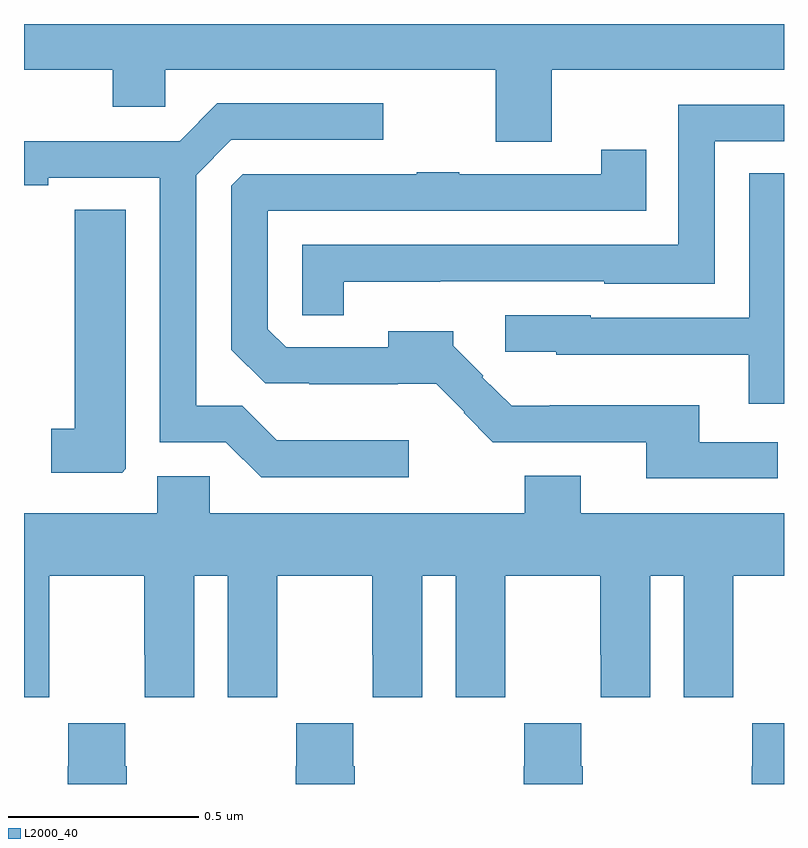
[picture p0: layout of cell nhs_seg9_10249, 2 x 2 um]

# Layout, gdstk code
import gdstk
lib = gdstk.Library(unit=1e-6, precision=1e-09)
def P(c, l, *ps):  # polygons
    for p in ps: c.add(gdstk.Polygon(p, *l))
L2000_40 = (2000, 40)

nhs_seg9_10249 = lib.new_cell('nhs_seg9_10249')
P(nhs_seg9_10249, L2000_40, [(241.389,1236.38),(242,1236.38),(242,1236.5),(240,1236.5),(240,1236.38),(240.233,1236.38),(240.233,1236.282),(240.372,1236.282),(240.372,1236.38),(241.241,1236.38),(241.241,1236.19),(241.389,1236.19)],
  [(241.012,1235.404),(240.665,1235.404),(240.574,1235.495),(240.453,1235.495),(240.453,1236.102),(240.546,1236.195),(240.946,1236.195),(240.946,1236.291),(240.509,1236.291),(240.41,1236.192),(240,1236.192),(240,1236.076),(240.064,1236.076),(240.064,1236.096),(240.357,1236.096),(240.357,1235.4),(240.531,1235.4),(240.624,1235.307),(241.012,1235.307)],
  [(240.841,1235.822),(241.095,1235.822),(241.095,1235.823),(241.527,1235.823),(241.527,1235.816),(241.818,1235.816),(241.818,1236.192),(242,1236.192),(242,1236.288),(241.722,1236.288),(241.722,1235.919),(240.732,1235.919),(240.732,1235.734),(240.841,1235.734)],
  [(241.984,1235.4),(241.777,1235.4),(241.777,1235.497),(241.384,1235.497),(241.384,1235.495),(241.283,1235.495),(241.206,1235.571),(241.209,1235.574),(241.13,1235.653),(241.13,1235.692),(240.959,1235.692),(240.959,1235.649),(240.69,1235.649),(240.642,1235.697),(240.642,1236.009),(241.637,1236.009),(241.637,1236.169),(241.519,1236.169),(241.519,1236.105),(241.145,1236.105),(241.145,1236.11),(241.033,1236.11),(241.033,1236.105),(240.576,1236.105),(240.546,1236.075),(240.546,1235.643),(240.635,1235.554),(240.751,1235.554),(240.751,1235.552),(240.983,1235.552),(240.983,1235.553),(241.085,1235.553),(241.159,1235.479),(241.157,1235.477),(241.233,1235.4),(241.637,1235.4),(241.637,1235.304),(241.984,1235.304)],
  [(242,1236.107),(241.908,1236.107),(241.908,1235.727),(241.491,1235.727),(241.491,1235.733),(241.266,1235.733),(241.266,1235.637),(241.401,1235.637),(241.401,1235.63),(241.907,1235.63),(241.907,1235.501),(242,1235.501)],
  [(240.268,1235.329),(240.268,1236.011),(240.134,1236.011),(240.134,1235.435),(240.072,1235.435),(240.072,1235.319),(240.258,1235.319)],
  [(240.066,1234.84),(240.067,1234.84),(240.067,1235.048),(240.317,1235.048),(240.317,1234.84),(240.318,1234.84),(240.318,1234.728),(240.448,1234.728),(240.448,1235.048),(240.536,1235.048),(240.536,1234.728),(240.666,1234.728),(240.666,1234.84),(240.667,1234.84),(240.667,1235.048),(240.917,1235.048),(240.917,1234.84),(240.918,1234.84),(240.918,1234.728),(241.048,1234.728),(241.048,1235.048),(241.136,1235.048),(241.136,1234.728),(241.266,1234.728),(241.266,1234.84),(241.267,1234.84),(241.267,1235.048),(241.517,1235.048),(241.517,1234.84),(241.518,1234.84),(241.518,1234.728),(241.648,1234.728),(241.648,1235.048),(241.736,1235.048),(241.736,1234.728),(241.866,1234.728),(241.866,1234.84),(241.867,1234.84),(241.867,1235.048),(242,1235.048),(242,1235.212),(241.465,1235.212),(241.465,1235.311),(241.318,1235.311),(241.318,1235.212),(240.489,1235.212),(240.489,1235.31),(240.35,1235.31),(240.35,1235.212),(240,1235.212),(240,1234.728),(240.066,1234.728)],
  [(241.47,1234.547),(241.467,1234.547),(241.467,1234.66),(241.317,1234.66),(241.317,1234.547),(241.315,1234.547),(241.315,1234.5),(241.47,1234.5)],
  [(242,1234.66),(241.917,1234.66),(241.917,1234.547),(241.915,1234.547),(241.915,1234.5),(242,1234.5)],
  [(240.87,1234.547),(240.867,1234.547),(240.867,1234.66),(240.717,1234.66),(240.717,1234.547),(240.715,1234.547),(240.715,1234.5),(240.87,1234.5)],
  [(240.27,1234.547),(240.267,1234.547),(240.267,1234.66),(240.117,1234.66),(240.117,1234.547),(240.115,1234.547),(240.115,1234.5),(240.27,1234.5)])

lib.write_gds('nhs_seg9_10249.gds')
